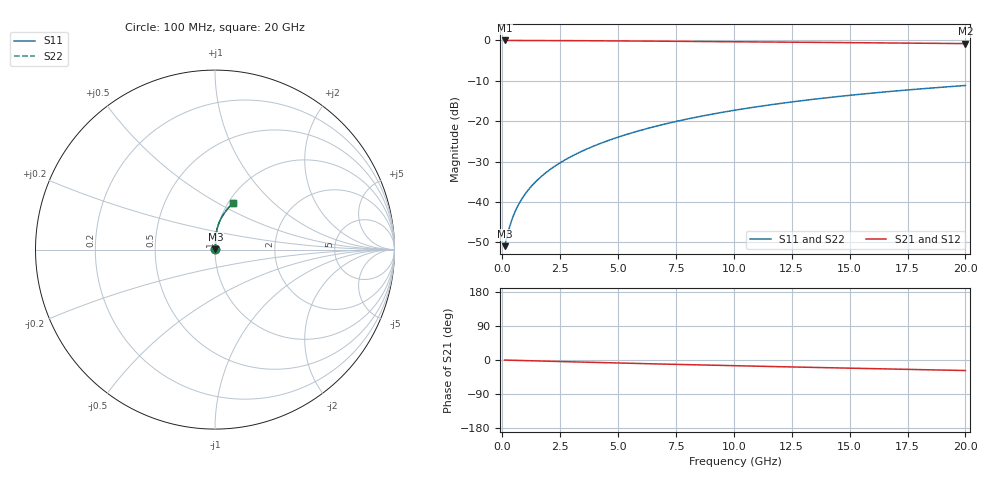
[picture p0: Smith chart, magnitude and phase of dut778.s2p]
! Touchstone file exported from HFSS 2024.1.0
!  File:  C:/UserFiles/LocalFiles/RDL_TSV_Batchsim/temp_RDL_top_778_1779852880.aedt
!  Generated:  11:36:52 AM May 27, 2026
!  Design:  RDL_top
!  Project:  temp_RDL_top_778_1779852880
!  Setup:  Setup1
!  Solution:  Sweep
! Variables:
!  dtsv = 10.80580581um
!  hbump = 3um
!  htsv = 95.73um
!  ldown = 100um
!  lrdl = 358.02um
!  p = 40
!  p1 = 52.46um
!  rhole = 1um
!  t = 450um
!  tdown = 3.915915916um
!  trdl = 2.4um
!  wdown = 15.38538539um
!  wrdl = 24.44um
# GHz S MA R 50.000000
! Terminal data exported
! Port[1] = Box2_T1
! Port[2] = Box2_T2
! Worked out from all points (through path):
!   200 points, 100 MHz to 20 GHz, reference 50 ohm
!   highest |S21| = -0.02 dB at 100 MHz (marker M1); lowest = -0.8 dB at 20 GHz (marker M2)
!   group delay of S21, straight-line fit = 3.83 ps
!   lowest |S11| = -51.0 dB at 100 MHz (marker M3), VSWR 1.01, Z = 50.2 + j0.135 ohm
!   |S11| at or under -10 dB: start of sweep to end of sweep
!   |S22| runs from -51.0 to -11.2 dB; largest |S21 - S12| = 3.3e-15
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0.1  0.002831 28.2  0.9975 -0.2  0.9975 -0.2  0.002831 28.2
! Gamma 0 0 0 0
! Port Impedance 50 0 50 0
0.3  0.004746 56.0  0.9973 -0.5  0.9973 -0.5  0.004746 56.0
0.4  0.005861 62.0  0.9971 -0.7  0.9971 -0.7  0.005861 62.0
0.5  0.006989 66.0  0.997 -0.8  0.997 -0.8  0.006989 66.0
0.6  0.00812 69.0  0.9969 -1.0  0.9969 -1.0  0.00812 69.0
0.8  0.01039 73.1  0.9966 -1.3  0.9966 -1.3  0.01039 73.1
1  0.01267 76.0  0.9963 -1.7  0.9963 -1.7  0.01267 76.0
1.2  0.01497 78.1  0.996 -2.0  0.996 -2.0  0.01497 78.1
1.4  0.0173 79.7  0.9957 -2.3  0.9957 -2.3  0.0173 79.7
1.7  0.02084 81.5  0.9952 -2.8  0.9952 -2.8  0.02084 81.6
2.2  0.02687 83.6  0.9941 -3.6  0.9941 -3.6  0.02687 83.6
2.8  0.03431 85.2  0.9926 -4.5  0.9926 -4.5  0.03431 85.2
3.5  0.04325 86.2  0.9904 -5.6  0.9904 -5.6  0.04325 86.2
4.2  0.05247 86.7  0.988 -6.7  0.988 -6.7  0.05248 86.7
5  0.06334 86.9  0.9849 -7.9  0.9849 -7.9  0.06335 86.9
6.8  0.08883 86.1  0.9771 -10.6  0.9771 -10.6  0.08885 86.1
8.4  0.1123 84.6  0.9696 -12.8  0.9696 -12.8  0.1123 84.7
10.1  0.1375 82.6  0.9614 -15.2  0.9614 -15.2  0.1375 82.6
11.7  0.1611 80.5  0.9536 -17.3  0.9536 -17.3  0.1612 80.5
13.4  0.1859 78.1  0.9453 -19.5  0.9453 -19.5  0.186 78.1
16.7  0.2324 73.4  0.9288 -23.7  0.9288 -23.7  0.2325 73.5
20  0.2762 68.9  0.9121 -27.8  0.9121 -27.8  0.2763 68.9
